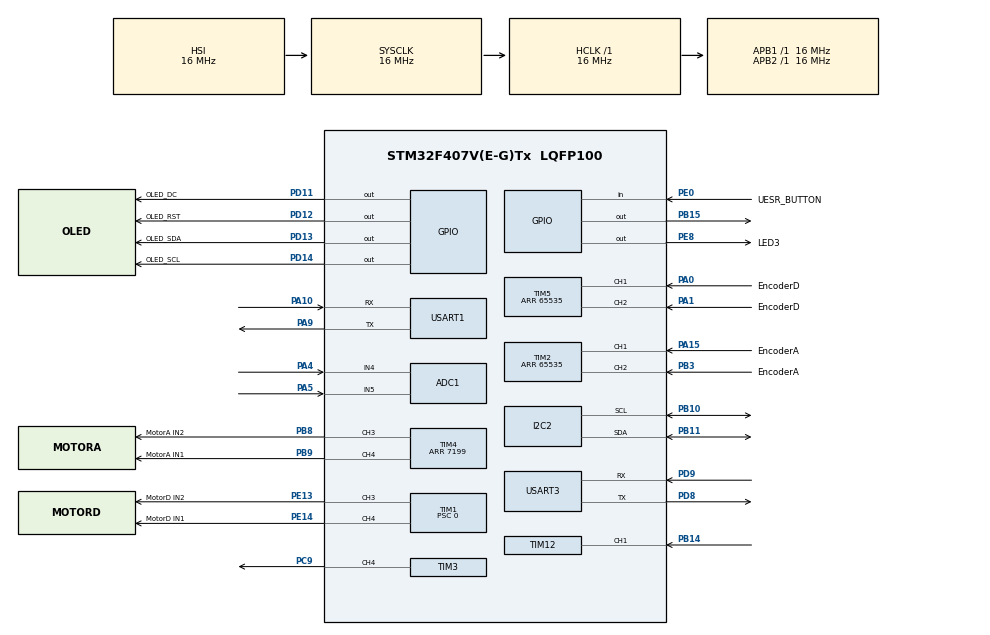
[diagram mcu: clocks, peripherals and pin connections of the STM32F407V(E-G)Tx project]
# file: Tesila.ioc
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ADC1.Channel-0\#ChannelRegularConversion=ADC_CHANNEL_5
ADC1.EOCSelection=ADC_EOC_SINGLE_CONV
ADC1.EnableAnalogWatchDog=true
ADC1.InjNumberOfConversion=0
ADC1.NbrOfConversionFlag=1
ADC1.Rank-0\#ChannelRegularConversion=1
ADC1.SamplingTime-0\#ChannelRegularConversion=ADC_SAMPLETIME_3CYCLES
ADC1.WatchdogChannel=ADC_CHANNEL_5
ADC1.master=1
Dma.Request0=USART3_RX
Dma.USART3_RX.0.Direction=DMA_PERIPH_TO_MEMORY
Dma.USART3_RX.0.FIFOMode=DMA_FIFOMODE_DISABLE
Dma.USART3_RX.0.Instance=DMA1_Stream1
Dma.USART3_RX.0.MemDataAlignment=DMA_MDATAALIGN_BYTE
Dma.USART3_RX.0.MemInc=DMA_MINC_ENABLE
Dma.USART3_RX.0.Mode=DMA_NORMAL
Dma.USART3_RX.0.PeriphDataAlignment=DMA_PDATAALIGN_BYTE
Dma.USART3_RX.0.PeriphInc=DMA_PINC_DISABLE
Dma.USART3_RX.0.Priority=DMA_PRIORITY_LOW
FREERTOS.Tasks01=defaultTask,24,512,StartDefaultTask,Default,NULL,Dynamic,NULL,NULL;motorTask,8,512,StartMotorTask,Default,NULL,Dynamic,NULL,NULL;OLEDTask,8,512,StartOLEDTask,Default,NULL,Dynamic,NULL,NULL;gyroTask,8,128,StartGyroTask,Default,NULL,Dynamic,NULL,NULL;ultrasonicTask,8,128,StartUltrasonicTask,Default,NULL,Dynamic,NULL,NULL;communicateTask,8,128,StartCommunicateTask,Default,NULL,Dynamic,NULL,NULL;encoderRTask,8,128,StartEncoderRTask,Default,NULL,Dynamic,NULL,NULL;encoderLTask,8,128,StartEncoderLTask,Default,NULL,Dynamic,NULL,NULL;IR_Task,16,256,StartIR_Task,Default,NULL,Dynamic,NULL,NULL
FREERTOS.configUSE_NEWLIB_REENTRANT=1
Mcu.Family=STM32F4
Mcu.Name=STM32F407V(E-G)Tx
Mcu.Package=LQFP100
NVIC.DMA1_Stream1_IRQn=true\:5\:0\:false\:false\:true\:true\:false\:true\:true
NVIC.PriorityGroup=NVIC_PRIORITYGROUP_4
NVIC.TIM6_DAC_IRQn=true\:15\:0\:false\:false\:true\:false\:false\:true\:true
NVIC.TIM8_BRK_TIM12_IRQn=true\:5\:0\:false\:false\:true\:true\:true\:true\:true
NVIC.TimeBase=TIM6_DAC_IRQn
NVIC.TimeBaseIP=TIM6
NVIC.USART3_IRQn=true\:5\:0\:false\:false\:true\:true\:true\:true\:true
PA0-WKUP.GPIO_Label=EncoderD
PA0-WKUP.Signal=S_TIM5_CH1
PA1.GPIO_Label=EncoderD
PA1.Signal=S_TIM5_CH2
PA10.Mode=Asynchronous
PA10.Signal=USART1_RX
PA13.Mode=Serial_Wire
PA13.Signal=SYS_JTMS-SWDIO
PA14.Mode=Serial_Wire
PA14.Signal=SYS_JTCK-SWCLK
PA15.GPIO_Label=EncoderA
PA15.Signal=S_TIM2_CH1_ETR
PA4.Signal=ADCx_IN4
PA5.Signal=SharedAnalog_PA5
PA9.Mode=Asynchronous
PA9.Signal=USART1_TX
PB10.Mode=I2C
PB10.Signal=I2C2_SCL
PB11.Mode=I2C
PB11.Signal=I2C2_SDA
PB14.Signal=S_TIM12_CH1
PB15.Signal=GPIO_Output
PB3.GPIO_Label=EncoderA
PB3.Signal=S_TIM2_CH2
PB8.GPIO_Label=MotorA IN2
PB8.Signal=S_TIM4_CH3
PB9.GPIO_Label=MotorA IN1
PB9.Signal=S_TIM4_CH4
PC9.Signal=S_TIM3_CH4
PD11.GPIO_Label=OLED_DC
PD11.Signal=GPIO_Output
PD12.GPIO_Label=OLED_RST
PD12.Signal=GPIO_Output
PD13.GPIO_Label=OLED_SDA
PD13.Signal=GPIO_Output
PD14.GPIO_Label=OLED_SCL
PD14.Signal=GPIO_Output
PD8.Mode=Asynchronous
PD8.Signal=USART3_TX
PD9.Mode=Asynchronous
PD9.Signal=USART3_RX
PE0.GPIO_Label=UESR_BUTTON
PE0.Signal=GPIO_Input
PE13.GPIO_Label=MotorD IN2
PE13.Signal=S_TIM1_CH3
PE14.GPIO_Label=MotorD IN1
PE14.Signal=S_TIM1_CH4
PE8.GPIO_Label=LED3
PE8.Signal=GPIO_Output
ProjectManager.HeapSize=0x200
ProjectManager.StackSize=0x400
ProjectManager.TargetToolchain=STM32CubeIDE
RCC.AHBFreq_Value=16000000
RCC.APB1Freq_Value=16000000
RCC.APB2Freq_Value=16000000
RCC.CortexFreq_Value=16000000
RCC.HSE_VALUE=25000000
RCC.HSI_VALUE=16000000
RCC.LSE_VALUE=32768
RCC.SYSCLKFreq_VALUE=16000000
RCC.VCOOutputFreq_Value=192000000
SH.ADCx_IN4.0=ADC1_IN4,IN4
SH.S_TIM12_CH1.0=TIM12_CH1,Input_Capture1_from_TI1
SH.S_TIM1_CH3.0=TIM1_CH3,PWM Generation3 CH3
SH.S_TIM1_CH4.0=TIM1_CH4,PWM Generation4 CH4
SH.S_TIM2_CH1_ETR.0=TIM2_CH1,Encoder_Interface
SH.S_TIM2_CH2.0=TIM2_CH2,Encoder_Interface
SH.S_TIM3_CH4.0=TIM3_CH4,PWM Generation4 CH4
SH.S_TIM4_CH3.0=TIM4_CH3,PWM Generation3 CH3
SH.S_TIM4_CH4.0=TIM4_CH4,PWM Generation4 CH4
SH.S_TIM5_CH1.0=TIM5_CH1,Encoder_Interface
SH.S_TIM5_CH2.0=TIM5_CH2,Encoder_Interface
SH.SharedAnalog_PA5.0=GPIO_Analog
SH.SharedAnalog_PA5.1=ADC1_IN5,IN5
TIM1.Channel-PWM\ Generation3\ CH3=TIM_CHANNEL_3
TIM1.Channel-PWM\ Generation4\ CH4=TIM_CHANNEL_4
TIM1.OCPolarity_3=TIM_OCPOLARITY_HIGH
TIM1.OCPolarity_4=TIM_OCPOLARITY_HIGH
TIM1.Period=7199
TIM1.Prescaler=0
TIM12.Channel-Input_Capture1_from_TI1=TIM_CHANNEL_1
TIM12.ICPolarity_CH1=TIM_INPUTCHANNELPOLARITY_BOTHEDGE
TIM12.Prescaler=15
TIM2.EncoderMode=TIM_ENCODERMODE_TI12
TIM2.IC1Filter=10
TIM2.IC2Filter=10
TIM2.Period=65535
TIM3.Channel-PWM\ Generation4\ CH4=TIM_CHANNEL_4
TIM3.Period=1999
TIM3.Prescaler=159
TIM4.Channel-PWM\ Generation3\ CH3=TIM_CHANNEL_3
TIM4.Channel-PWM\ Generation4\ CH4=TIM_CHANNEL_4
TIM4.OCPolarity_3=TIM_OCPOLARITY_LOW
TIM4.OCPolarity_4=TIM_OCPOLARITY_LOW
TIM4.Period=7199
TIM5.EncoderMode=TIM_ENCODERMODE_TI12
TIM5.IC1Filter=10
TIM5.Period=65535
USART1.VirtualMode=VM_ASYNC
USART3.VirtualMode=VM_ASYNC
VP_FREERTOS_VS_CMSIS_V2.Mode=CMSIS_V2
VP_SYS_VS_tim6.Mode=TIM6
VP_TIM12_VS_ClockSourceINT.Mode=Internal
VP_TIM3_VS_ClockSourceINT.Mode=Internal
board=custom

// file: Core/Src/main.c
/* USER CODE BEGIN Header */
/**
  ******************************************************************************
  * @file           : main.c
  * @brief          : Main program body
  ******************************************************************************
  * @attention
  *
  * Copyright (c) 2025 STMicroelectronics.
  * All rights reserved.
  *
  * This software is licensed under terms that can be found in the LICENSE file
  * in the root directory of this software component.
  * If no LICENSE file comes with this software, it is provided AS-IS.
  *
  ******************************************************************************
  */
/* USER CODE END Header */
#include "main.h"
#include "cmsis_os.h"

/* USER CODE BEGIN Includes */
// --- Use volatile for variables shared with an ISR ---
volatile uint8_t  capture_state = 0; // 0=idle, 1=rising edge captured
volatile uint32_t capture_val1 = 0;
volatile uint32_t capture_val2 = 0;
volatile uint32_t pulse_width = 0;
static volatile uint8_t is_capture_done = 0; // Flag to signal completion from ISR to task

volatile float IR_Left_cm = 0.0f;
volatile float IR_Right_cm = 0.0f;
volatile float initial_ultrasound_distance = 0.0f; // in main.c

// NEW variable specifically for the Front Ultrasonic distance
volatile float Front_Distance_cm = 0.0f;
#define TRIG_PORT GPIOB
#define TRIG_PIN  GPIO_PIN_15
#include <stdio.h>
#include <stdlib.h>
#include <string.h>
#define _USE_MATH_DEFINES // <-- ADD THIS LINE
#include <math.h>         // <-- ADD THIS LINE
#include "motion.h"
#include <ICM20948_all.h>
#include "app_parser.h"
#include "adc_utils.h"   // add this with the other includes

/* USER CODE END Includes */

ADC_HandleTypeDef hadc1;

I2C_HandleTypeDef hi2c2;

TIM_HandleTypeDef htim1;
TIM_HandleTypeDef htim2;
TIM_HandleTypeDef htim3;
TIM_HandleTypeDef htim4;
TIM_HandleTypeDef htim5;
TIM_HandleTypeDef htim12;

UART_HandleTypeDef huart1;
UART_HandleTypeDef huart3;
DMA_HandleTypeDef hdma_usart3_rx;

/* Definitions for defaultTask */
osThreadId_t defaultTaskHandle;
const osThreadAttr_t defaultTask_attributes = {
  .name = "defaultTask",
  .stack_size = 512 * 4,
  .priority = (osPriority_t) osPriorityNormal,
};
/* Definitions for motorTask */
osThreadId_t motorTaskHandle;
const osThreadAttr_t motorTask_attributes = {
  .name = "motorTask",
  .stack_size = 512 * 4,
  .priority = (osPriority_t) osPriorityNormal,
};
/* Definitions for OLEDTask */
osThreadId_t OLEDTaskHandle;
const osThreadAttr_t OLEDTask_attributes = {
  .name = "OLEDTask",
  .stack_size = 512 * 4,
  .priority = (osPriority_t) osPriorityLow,
};
/* Definitions for gyroTask */
osThreadId_t gyroTaskHandle;
const osThreadAttr_t gyroTask_attributes = {
  .name = "gyroTask",
  .stack_size = 128 * 4,
  .priority = (osPriority_t) osPriorityLow,
};
/* Definitions for ultrasonicTask */
osThreadId_t ultrasonicTaskHandle;
const osThreadAttr_t ultrasonicTask_attributes = {
  .name = "ultrasonicTask",
  .stack_size = 128 * 4,
  .priority = (osPriority_t) osPriorityLow,
};
/* Definitions for communicateTask */
osThreadId_t communicateTaskHandle;
const osThreadAttr_t communicateTask_attributes = {
  .name = "communicateTask",
  .stack_size = 128 * 4,
  .priority = (osPriority_t) osPriorityLow,
};
/* Definitions for encoderRTask */
osThreadId_t encoderRTaskHandle;
const osThreadAttr_t encoderRTask_attributes = {
  .name = "encoderRTask",
  .stack_size = 128 * 4,
  .priority = (osPriority_t) osPriorityLow,
};
/* Definitions for encoderLTask */
osThreadId_t encoderLTaskHandle;
const osThreadAttr_t encoderLTask_attributes = {
  .name = "encoderLTask",
  .stack_size = 128 * 4,
  .priority = (osPriority_t) osPriorityLow,
};
/* Definitions for IR_Task */
osThreadId_t IR_TaskHandle;
const osThreadAttr_t IR_Task_attributes = {
  .name = "IR_Task",
  .stack_size = 256 * 4,
  .priority = (osPriority_t) osPriorityLow,
};
/* USER CODE BEGIN PV */
// Message Queues
osMessageQueueId_t motor_cmd_queue;      // NEW: For sending commands to the motor task
osMessageQueueId_t uart_rx_msg_queue;    // NEW: For receiving raw UART frames in the parser task

// These variables are shared between tasks and the motion module
volatile int32_t encoder_count_A = 0;
volatile int32_t encoder_count_D = 0;

volatile ICM20948 imu_sensor;
volatile float pitch = 0.0f;
volatile float roll = 0.0f;
volatile float yaw = 0.0f;
extern volatile int32_t last_servo_pulse;

// Ultrasonic sensor variables
volatile uint32_t ic_val1 = 0;
volatile uint32_t ic_val2 = 0;
// UART receive buffer
volatile uint8_t uart_dma_rx_buffer[10]; // NEW: DMA buffer for UART
/* USER CODE END PV */

void SystemClock_Config(void);
static void MX_GPIO_Init(void);
static void MX_DMA_Init(void);
static void MX_TIM1_Init(void);
static void MX_TIM2_Init(void);
static void MX_TIM4_Init(void);
static void MX_USART1_UART_Init(void);
static void MX_TIM5_Init(void);
static void MX_I2C2_Init(void);
static void MX_USART3_UART_Init(void);
static void MX_TIM3_Init(void);
static void MX_TIM12_Init(void);
static void MX_ADC1_Init(void);
void StartDefaultTask(void *argument);
void StartMotorTask(void *argument);
void StartOLEDTask(void *argument);
void StartGyroTask(void *argument);
void StartUltrasonicTask(void *argument);
void StartCommunicateTask(void *argument);
void StartEncoderRTask(void *argument);
void StartEncoderLTask(void *argument);
void StartIR_Task(void *argument);

/* USER CODE BEGIN 0 */
void DWT_Delay_Init(void)
	{
	  // Enable the DWT peripheral
	  CoreDebug->DEMCR |= CoreDebug_DEMCR_TRCENA_Msk;

	  // Reset the cycle counter
	  DWT->CYCCNT = 0;

	  // Start the cycle counter
	  DWT->CTRL |= DWT_CTRL_CYCCNTENA_Msk;
	}

/* USER CODE END 0 */

int main(void)
{

  /* USER CODE BEGIN 1 */
	/**
	  * @brief  Enables the DWT Cycle Counter for high-precision delays.
	  * @retval None
	  *
	  *
	  */
	DWT_Delay_Init();
  /* USER CODE END 1 */

  /* MCU Configuration--------------------------------------------------------*/

  /* Reset of all peripherals, Initializes the Flash interface and the Systick. */
  HAL_Init();

  /* Configure the system clock */
  SystemClock_Config();

  /* Initialize all configured peripherals */
  MX_GPIO_Init();
  MX_DMA_Init();
  MX_TIM1_Init();
  MX_TIM2_Init();
  MX_TIM4_Init();
  MX_USART1_UART_Init();
  MX_TIM5_Init();
  MX_I2C2_Init();
  MX_USART3_UART_Init();
  MX_TIM3_Init();
  MX_TIM12_Init();
  MX_ADC1_Init();

  /* Init scheduler */
  osKernelInitialize();

  /* USER CODE BEGIN RTOS_QUEUES */
   // NEW: Create the message queues
   motor_cmd_queue = osMessageQueueNew(10, sizeof(MOTION_PKT_t), NULL);
   uart_rx_msg_queue = osMessageQueueNew(5, sizeof(AppMessage_t), NULL);
  /* USER CODE END RTOS_QUEUES */

  /* Create the thread(s) */
  /* creation of defaultTask */
  defaultTaskHandle = osThreadNew(StartDefaultTask, NULL, &defaultTask_attributes);

  /* creation of motorTask */
  motorTaskHandle = osThreadNew(StartMotorTask, NULL, &motorTask_attributes);

  /* creation of OLEDTask */
  OLEDTaskHandle = osThreadNew(StartOLEDTask, NULL, &OLEDTask_attributes);

  /* creation of gyroTask */
  gyroTaskHandle = osThreadNew(StartGyroTask, NULL, &gyroTask_attributes);

  /* creation of ultrasonicTask */
  ultrasonicTaskHandle = osThreadNew(StartUltrasonicTask, NULL, &ultrasonicTask_attributes);

  /* creation of communicateTask */
  communicateTaskHandle = osThreadNew(StartCommunicateTask, NULL, &communicateTask_attributes);

  /* creation of encoderRTask */
  encoderRTaskHandle = osThreadNew(StartEncoderRTask, NULL, &encoderRTask_attributes);

  /* creation of encoderLTask */
  encoderLTaskHandle = osThreadNew(StartEncoderLTask, NULL, &encoderLTask_attributes);

  /* creation of IR_Task */
  IR_TaskHandle = osThreadNew(StartIR_Task, NULL, &IR_Task_attributes);

  /* Start scheduler */
  osKernelStart();

  /* We should never get here as control is now taken by the scheduler */

  /* Infinite loop */
  while (1)
  {

  }
}

void SystemClock_Config(void)
{
  RCC_OscInitTypeDef RCC_OscInitStruct = {0};
  RCC_ClkInitTypeDef RCC_ClkInitStruct = {0};

  /** Configure the main internal regulator output voltage
  */
  __HAL_RCC_PWR_CLK_ENABLE();
  __HAL_PWR_VOLTAGESCALING_CONFIG(PWR_REGULATOR_VOLTAGE_SCALE1);

  /** Initializes the RCC Oscillators according to the specified parameters
  * in the RCC_OscInitTypeDef structure.
  */
  RCC_OscInitStruct.OscillatorType = RCC_OSCILLATORTYPE_HSI;
  RCC_OscInitStruct.HSIState = RCC_HSI_ON;
  RCC_OscInitStruct.HSICalibrationValue = RCC_HSICALIBRATION_DEFAULT;
  RCC_OscInitStruct.PLL.PLLState = RCC_PLL_NONE;
  if (HAL_RCC_OscConfig(&RCC_OscInitStruct) != HAL_OK)
  {
    Error_Handler();
  }

  /** Initializes the CPU, AHB and APB buses clocks
  */
  RCC_ClkInitStruct.ClockType = RCC_CLOCKTYPE_HCLK|RCC_CLOCKTYPE_SYSCLK
                              |RCC_CLOCKTYPE_PCLK1|RCC_CLOCKTYPE_PCLK2;
  RCC_ClkInitStruct.SYSCLKSource = RCC_SYSCLKSOURCE_HSI;
  RCC_ClkInitStruct.AHBCLKDivider = RCC_SYSCLK_DIV1;
  RCC_ClkInitStruct.APB1CLKDivider = RCC_HCLK_DIV1;
  RCC_ClkInitStruct.APB2CLKDivider = RCC_HCLK_DIV1;

  if (HAL_RCC_ClockConfig(&RCC_ClkInitStruct, FLASH_LATENCY_0) != HAL_OK)
  {
    Error_Handler();
  }
}

static void MX_ADC1_Init(void)
{

  ADC_ChannelConfTypeDef sConfig = {0};

  /** Configure the global features of the ADC (Clock, Resolution, Data Alignment and number of conversion)
  */
  hadc1.Instance = ADC1;
  hadc1.Init.ClockPrescaler        = ADC_CLOCK_SYNC_PCLK_DIV2;
  hadc1.Init.Resolution            = ADC_RESOLUTION_12B;
  hadc1.Init.ScanConvMode          = DISABLE;
  hadc1.Init.ContinuousConvMode    = DISABLE;
  hadc1.Init.DiscontinuousConvMode = DISABLE;
  hadc1.Init.ExternalTrigConvEdge  = ADC_EXTERNALTRIGCONVEDGE_NONE;
  hadc1.Init.ExternalTrigConv      = ADC_SOFTWARE_START;
  hadc1.Init.DataAlign             = ADC_DATAALIGN_RIGHT;
  hadc1.Init.NbrOfConversion       = 1;
  hadc1.Init.DMAContinuousRequests = DISABLE;
  hadc1.Init.EOCSelection          = ADC_EOC_SINGLE_CONV;
  if (HAL_ADC_Init(&hadc1) != HAL_OK)
  {
    Error_Handler();
  }

  /* === Enable internal channels (VREFINT / TempSensor) === */
  /* Do this once after HAL_ADC_Init. This powers the internal buffer so that
     ADC_CHANNEL_VREFINT returns a valid conversion value. */
  __HAL_RCC_ADC1_CLK_ENABLE();          // <<< NEW (harmless if already enabled)
  ADC->CCR |= ADC_CCR_TSVREFE;          // <<< NEW: enable VREFINT (and TempSensor)
  HAL_Delay(1);                         // <<< NEW: tiny settle time (~us is enough, 1ms is safe)

  /** Configure for a regular external channel (your default) */
  sConfig.Channel      = ADC_CHANNEL_5;          // PA5
  sConfig.Rank         = 1;
  sConfig.SamplingTime = ADC_SAMPLETIME_480CYCLES;  // keep long sample time
  if (HAL_ADC_ConfigChannel(&hadc1, &sConfig) != HAL_OK)
  {
    Error_Handler();
  }
}

static void MX_I2C2_Init(void)
{

  hi2c2.Instance = I2C2;
  hi2c2.Init.ClockSpeed = 100000;
  hi2c2.Init.DutyCycle = I2C_DUTYCYCLE_2;
  hi2c2.Init.OwnAddress1 = 0;
  hi2c2.Init.AddressingMode = I2C_ADDRESSINGMODE_7BIT;
  hi2c2.Init.DualAddressMode = I2C_DUALADDRESS_DISABLE;
  hi2c2.Init.OwnAddress2 = 0;
  hi2c2.Init.GeneralCallMode = I2C_GENERALCALL_DISABLE;
  hi2c2.Init.NoStretchMode = I2C_NOSTRETCH_DISABLE;
  if (HAL_I2C_Init(&hi2c2) != HAL_OK)
  {
    Error_Handler();
  }

}

static void MX_TIM1_Init(void)
{

  TIM_MasterConfigTypeDef sMasterConfig = {0};
  TIM_OC_InitTypeDef sConfigOC = {0};
  TIM_BreakDeadTimeConfigTypeDef sBreakDeadTimeConfig = {0};

  htim1.Instance = TIM1;
  htim1.Init.Prescaler = 0;
  htim1.Init.CounterMode = TIM_COUNTERMODE_UP;
  htim1.Init.Period = 7199;
  htim1.Init.ClockDivision = TIM_CLOCKDIVISION_DIV1;
  htim1.Init.RepetitionCounter = 0;
  htim1.Init.AutoReloadPreload = TIM_AUTORELOAD_PRELOAD_DISABLE;
  if (HAL_TIM_PWM_Init(&htim1) != HAL_OK)
  {
    Error_Handler();
  }
  sMasterConfig.MasterOutputTrigger = TIM_TRGO_RESET;
  sMasterConfig.MasterSlaveMode = TIM_MASTERSLAVEMODE_DISABLE;
  if (HAL_TIMEx_MasterConfigSynchronization(&htim1, &sMasterConfig) != HAL_OK)
  {
    Error_Handler();
  }
  sConfigOC.OCMode = TIM_OCMODE_PWM1;
  sConfigOC.Pulse = 0;
  sConfigOC.OCPolarity = TIM_OCPOLARITY_LOW;
  sConfigOC.OCNPolarity = TIM_OCNPOLARITY_HIGH;
  sConfigOC.OCFastMode = TIM_OCFAST_DISABLE;
  sConfigOC.OCIdleState = TIM_OCIDLESTATE_RESET;
  sConfigOC.OCNIdleState = TIM_OCNIDLESTATE_RESET;
  if (HAL_TIM_PWM_ConfigChannel(&htim1, &sConfigOC, TIM_CHANNEL_3) != HAL_OK)
  {
    Error_Handler();
  }
  if (HAL_TIM_PWM_ConfigChannel(&htim1, &sConfigOC, TIM_CHANNEL_4) != HAL_OK)
  {
    Error_Handler();
  }
  sBreakDeadTimeConfig.OffStateRunMode = TIM_OSSR_DISABLE;
  sBreakDeadTimeConfig.OffStateIDLEMode = TIM_OSSI_DISABLE;
  sBreakDeadTimeConfig.LockLevel = TIM_LOCKLEVEL_OFF;
  sBreakDeadTimeConfig.DeadTime = 0;
  sBreakDeadTimeConfig.BreakState = TIM_BREAK_DISABLE;
  sBreakDeadTimeConfig.BreakPolarity = TIM_BREAKPOLARITY_HIGH;
  sBreakDeadTimeConfig.AutomaticOutput = TIM_AUTOMATICOUTPUT_DISABLE;
  if (HAL_TIMEx_ConfigBreakDeadTime(&htim1, &sBreakDeadTimeConfig) != HAL_OK)
  {
    Error_Handler();
  }
  HAL_TIM_MspPostInit(&htim1);

}

static void MX_TIM2_Init(void)
{

  TIM_Encoder_InitTypeDef sConfig = {0};
  TIM_MasterConfigTypeDef sMasterConfig = {0};

  htim2.Instance = TIM2;
  htim2.Init.Prescaler = 0;
  htim2.Init.CounterMode = TIM_COUNTERMODE_UP;
  htim2.Init.Period = 65535;
  htim2.Init.ClockDivision = TIM_CLOCKDIVISION_DIV1;
  htim2.Init.AutoReloadPreload = TIM_AUTORELOAD_PRELOAD_DISABLE;
  sConfig.EncoderMode = TIM_ENCODERMODE_TI12;
  sConfig.IC1Polarity = TIM_ICPOLARITY_RISING;
  sConfig.IC1Selection = TIM_ICSELECTION_DIRECTTI;
  sConfig.IC1Prescaler = TIM_ICPSC_DIV1;
  sConfig.IC1Filter = 10;
  sConfig.IC2Polarity = TIM_ICPOLARITY_RISING;
  sConfig.IC2Selection = TIM_ICSELECTION_DIRECTTI;
  sConfig.IC2Prescaler = TIM_ICPSC_DIV1;
  sConfig.IC2Filter = 10;
  if (HAL_TIM_Encoder_Init(&htim2, &sConfig) != HAL_OK)
  {
    Error_Handler();
  }
  sMasterConfig.MasterOutputTrigger = TIM_TRGO_RESET;
  sMasterConfig.MasterSlaveMode = TIM_MASTERSLAVEMODE_DISABLE;
  if (HAL_TIMEx_MasterConfigSynchronization(&htim2, &sMasterConfig) != HAL_OK)
  {
    Error_Handler();
  }

}

static void MX_TIM3_Init(void)
{

  TIM_ClockConfigTypeDef sClockSourceConfig = {0};
  TIM_MasterConfigTypeDef sMasterConfig = {0};
  TIM_OC_InitTypeDef sConfigOC = {0};

  htim3.Instance = TIM3;
  htim3.Init.Prescaler = 159;
  htim3.Init.CounterMode = TIM_COUNTERMODE_UP;
  htim3.Init.Period = 1999;
  htim3.Init.ClockDivision = TIM_CLOCKDIVISION_DIV1;
  htim3.Init.AutoReloadPreload = TIM_AUTORELOAD_PRELOAD_DISABLE;
  if (HAL_TIM_Base_Init(&htim3) != HAL_OK)
  {
    Error_Handler();
  }
  sClockSourceConfig.ClockSource = TIM_CLOCKSOURCE_INTERNAL;
  if (HAL_TIM_ConfigClockSource(&htim3, &sClockSourceConfig) != HAL_OK)
  {
    Error_Handler();
  }
  if (HAL_TIM_PWM_Init(&htim3) != HAL_OK)
  {
    Error_Handler();
  }
  sMasterConfig.MasterOutputTrigger = TIM_TRGO_RESET;
  sMasterConfig.MasterSlaveMode = TIM_MASTERSLAVEMODE_DISABLE;
  if (HAL_TIMEx_MasterConfigSynchronization(&htim3, &sMasterConfig) != HAL_OK)
  {
    Error_Handler();
  }
  sConfigOC.OCMode = TIM_OCMODE_PWM1;
  sConfigOC.Pulse = 0;
  sConfigOC.OCPolarity = TIM_OCPOLARITY_HIGH;
  sConfigOC.OCFastMode = TIM_OCFAST_DISABLE;
  if (HAL_TIM_PWM_ConfigChannel(&htim3, &sConfigOC, TIM_CHANNEL_4) != HAL_OK)
  {
    Error_Handler();
  }
  HAL_TIM_MspPostInit(&htim3);

}

static void MX_TIM4_Init(void)
{

  TIM_MasterConfigTypeDef sMasterConfig = {0};
  TIM_OC_InitTypeDef sConfigOC = {0};

  htim4.Instance = TIM4;
  htim4.Init.Prescaler = 0;
  htim4.Init.CounterMode = TIM_COUNTERMODE_UP;
  htim4.Init.Period = 7199;
  htim4.Init.ClockDivision = TIM_CLOCKDIVISION_DIV1;
  htim4.Init.AutoReloadPreload = TIM_AUTORELOAD_PRELOAD_DISABLE;
  if (HAL_TIM_PWM_Init(&htim4) != HAL_OK)
  {
    Error_Handler();
  }
  sMasterConfig.MasterOutputTrigger = TIM_TRGO_RESET;
  sMasterConfig.MasterSlaveMode = TIM_MASTERSLAVEMODE_DISABLE;
  if (HAL_TIMEx_MasterConfigSynchronization(&htim4, &sMasterConfig) != HAL_OK)
  {
    Error_Handler();
  }
  sConfigOC.OCMode = TIM_OCMODE_PWM1;
  sConfigOC.Pulse = 0;
  sConfigOC.OCPolarity = TIM_OCPOLARITY_LOW;
  sConfigOC.OCFastMode = TIM_OCFAST_DISABLE;
  if (HAL_TIM_PWM_ConfigChannel(&htim4, &sConfigOC, TIM_CHANNEL_3) != HAL_OK)
  {
    Error_Handler();
  }
  if (HAL_TIM_PWM_ConfigChannel(&htim4, &sConfigOC, TIM_CHANNEL_4) != HAL_OK)
  {
    Error_Handler();
  }
  HAL_TIM_MspPostInit(&htim4);

}

static void MX_TIM5_Init(void)
{

  TIM_Encoder_InitTypeDef sConfig = {0};
  TIM_MasterConfigTypeDef sMasterConfig = {0};

  htim5.Instance = TIM5;
  htim5.Init.Prescaler = 0;
  htim5.Init.CounterMode = TIM_COUNTERMODE_UP;
  htim5.Init.Period = 65535;
  htim5.Init.ClockDivision = TIM_CLOCKDIVISION_DIV1;
  htim5.Init.AutoReloadPreload = TIM_AUTORELOAD_PRELOAD_DISABLE;
  sConfig.EncoderMode = TIM_ENCODERMODE_TI12;
  sConfig.IC1Polarity = TIM_ICPOLARITY_RISING;
  sConfig.IC1Selection = TIM_ICSELECTION_DIRECTTI;
  sConfig.IC1Prescaler = TIM_ICPSC_DIV1;
  sConfig.IC1Filter = 10;
  sConfig.IC2Polarity = TIM_ICPOLARITY_RISING;
  sConfig.IC2Selection = TIM_ICSELECTION_DIRECTTI;
  sConfig.IC2Prescaler = TIM_ICPSC_DIV1;
  sConfig.IC2Filter = 0;
  if (HAL_TIM_Encoder_Init(&htim5, &sConfig) != HAL_OK)
  {
    Error_Handler();
  }
  sMasterConfig.MasterOutputTrigger = TIM_TRGO_RESET;
  sMasterConfig.MasterSlaveMode = TIM_MASTERSLAVEMODE_DISABLE;
  if (HAL_TIMEx_MasterConfigSynchronization(&htim5, &sMasterConfig) != HAL_OK)
  {
    Error_Handler();
  }

}

static void MX_TIM12_Init(void)
{

  TIM_ClockConfigTypeDef sClockSourceConfig = {0};
  TIM_IC_InitTypeDef sConfigIC = {0};

  htim12.Instance = TIM12;
  htim12.Init.Prescaler = 15;
  htim12.Init.CounterMode = TIM_COUNTERMODE_UP;
  htim12.Init.Period = 65535;
  htim12.Init.ClockDivision = TIM_CLOCKDIVISION_DIV1;
  htim12.Init.AutoReloadPreload = TIM_AUTORELOAD_PRELOAD_DISABLE;
  if (HAL_TIM_Base_Init(&htim12) != HAL_OK)
  {
    Error_Handler();
  }
  sClockSourceConfig.ClockSource = TIM_CLOCKSOURCE_INTERNAL;
  if (HAL_TIM_ConfigClockSource(&htim12, &sClockSourceConfig) != HAL_OK)
  {
    Error_Handler();
  }
  if (HAL_TIM_IC_Init(&htim12) != HAL_OK)
  {
    Error_Handler();
  }
  sConfigIC.ICPolarity = TIM_INPUTCHANNELPOLARITY_RISING;
  sConfigIC.ICSelection = TIM_ICSELECTION_DIRECTTI;
  sConfigIC.ICPrescaler = TIM_ICPSC_DIV1;
  sConfigIC.ICFilter = 8;
  if (HAL_TIM_IC_ConfigChannel(&htim12, &sConfigIC, TIM_CHANNEL_1) != HAL_OK)
  {
    Error_Handler();
  }

}

static void MX_USART1_UART_Init(void)
{

  huart1.Instance = USART1;
  huart1.Init.BaudRate = 115200;
  huart1.Init.WordLength = UART_WORDLENGTH_8B;
  huart1.Init.StopBits = UART_STOPBITS_1;
  huart1.Init.Parity = UART_PARITY_NONE;
  huart1.Init.Mode = UART_MODE_TX_RX;
  huart1.Init.HwFlowCtl = UART_HWCONTROL_NONE;
  huart1.Init.OverSampling = UART_OVERSAMPLING_16;
  if (HAL_UART_Init(&huart1) != HAL_OK)
  {
    Error_Handler();
  }

}

static void MX_USART3_UART_Init(void)
{

  huart3.Instance = USART3;
  huart3.Init.BaudRate = 115200;
  huart3.Init.WordLength = UART_WORDLENGTH_8B;
  huart3.Init.StopBits = UART_STOPBITS_1;
  huart3.Init.Parity = UART_PARITY_NONE;
  huart3.Init.Mode = UART_MODE_TX_RX;
  huart3.Init.HwFlowCtl = UART_HWCONTROL_NONE;
  huart3.Init.OverSampling = UART_OVERSAMPLING_16;
  if (HAL_UART_Init(&huart3) != HAL_OK)
  {
    Error_Handler();
  }
  /* USER CODE BEGIN USART3_Init 2 */
  // NEW: Start listening for a 10-byte packet using DMA
  HAL_UART_Receive_DMA(&huart3, (uint8_t*)uart_dma_rx_buffer, 10);
  /* USER CODE END USART3_Init 2 */

}

static void MX_DMA_Init(void)
{

  /* DMA controller clock enable */
  __HAL_RCC_DMA1_CLK_ENABLE();

  /* DMA interrupt init */
  /* DMA1_Stream1_IRQn interrupt configuration */
  HAL_NVIC_SetPriority(DMA1_Stream1_IRQn, 5, 0);
  HAL_NVIC_EnableIRQ(DMA1_Stream1_IRQn);

}

static void MX_GPIO_Init(void)
{
  GPIO_InitTypeDef GPIO_InitStruct = {0};

  /* GPIO Ports Clock Enable */
  __HAL_RCC_GPIOA_CLK_ENABLE();
  __HAL_RCC_GPIOE_CLK_ENABLE();
  __HAL_RCC_GPIOB_CLK_ENABLE();
  __HAL_RCC_GPIOD_CLK_ENABLE();
  __HAL_RCC_GPIOC_CLK_ENABLE();

  /*Configure GPIO pin Output Level */
  HAL_GPIO_WritePin(LED3_GPIO_Port, LED3_Pin, GPIO_PIN_RESET);

  /*Configure GPIO pin Output Level */
  HAL_GPIO_WritePin(GPIOB, GPIO_PIN_15, GPIO_PIN_RESET);

  /*Configure GPIO pin Output Level */
  HAL_GPIO_WritePin(GPIOD, OLED_DC_Pin|OLED_RST_Pin|OLED_SDA_Pin|OLED_SCL_Pin, GPIO_PIN_RESET);

  /*Configure GPIO pin : LED3_Pin */
  GPIO_InitStruct.Pin = LED3_Pin;
  GPIO_InitStruct.Mode = GPIO_MODE_OUTPUT_PP;
  GPIO_InitStruct.Pull = GPIO_NOPULL;
  GPIO_InitStruct.Speed = GPIO_SPEED_FREQ_LOW;
  HAL_GPIO_Init(LED3_GPIO_Port, &GPIO_InitStruct);

  /*Configure GPIO pin : PB15 */
  GPIO_InitStruct.Pin = GPIO_PIN_15;
  GPIO_InitStruct.Mode = GPIO_MODE_OUTPUT_PP;
  GPIO_InitStruct.Pull = GPIO_NOPULL;
  GPIO_InitStruct.Speed = GPIO_SPEED_FREQ_LOW;
  HAL_GPIO_Init(GPIOB, &GPIO_InitStruct);

  /*Configure GPIO pins : OLED_DC_Pin OLED_RST_Pin OLED_SDA_Pin OLED_SCL_Pin */
  GPIO_InitStruct.Pin = OLED_DC_Pin|OLED_RST_Pin|OLED_SDA_Pin|OLED_SCL_Pin;
  GPIO_InitStruct.Mode = GPIO_MODE_OUTPUT_PP;
  GPIO_InitStruct.Pull = GPIO_NOPULL;
  GPIO_InitStruct.Speed = GPIO_SPEED_FREQ_LOW;
  HAL_GPIO_Init(GPIOD, &GPIO_InitStruct);

  /*Configure GPIO pin : UESR_BUTTON_Pin */
  GPIO_InitStruct.Pin = UESR_BUTTON_Pin;
  GPIO_InitStruct.Mode = GPIO_MODE_INPUT;
  GPIO_InitStruct.Pull = GPIO_NOPULL;
  HAL_GPIO_Init(UESR_BUTTON_GPIO_Port, &GPIO_InitStruct);

}

/* USER CODE BEGIN 4 */
/**
* @brief TIM_IC MSP Initialization
*/
void HAL_TIM_IC_MspInit(TIM_HandleTypeDef* htim_ic)
{
  GPIO_InitTypeDef GPIO_InitStruct = {0};
  if(htim_ic->Instance==TIM12)
  {
    __HAL_RCC_TIM12_CLK_ENABLE();
    __HAL_RCC_GPIOB_CLK_ENABLE();
    /**TIM12 GPIO Configuration: PB14 -> TIM12_CH1 */
    GPIO_InitStruct.Pin = GPIO_PIN_14;
    GPIO_InitStruct.Mode = GPIO_MODE_AF_PP;
    GPIO_InitStruct.Pull = GPIO_NOPULL;
    GPIO_InitStruct.Speed = GPIO_SPEED_FREQ_LOW;
    GPIO_InitStruct.Alternate = GPIO_AF9_TIM12;
    HAL_GPIO_Init(GPIOB, &GPIO_InitStruct);

    HAL_NVIC_SetPriority(TIM8_BRK_TIM12_IRQn, 5, 0);
    HAL_NVIC_EnableIRQ(TIM8_BRK_TIM12_IRQn);
  }
}

/**
  * @brief  Input Capture callback in non-blocking mode
  */
// --- Make sure these are declared globally as volatile ---
// volatile uint8_t  is_capture_done = 0;
// volatile uint32_t ic_val1 = 0;
// volatile uint32_t ic_val2 = 0;
// volatile uint32_t pulse_width = 0;

void HAL_TIM_IC_CaptureCallback(TIM_HandleTypeDef *htim)
{
    if (htim->Instance == TIM12 && htim->Channel == HAL_TIM_ACTIVE_CHANNEL_1)
    {
        if (capture_state == 0) // rising edge just captured
        {
            capture_val1 = HAL_TIM_ReadCapturedValue(htim, TIM_CHANNEL_1);
            capture_state = 1;

            // --- SAFE SWITCH to FALLING ---
            __HAL_TIM_DISABLE_IT(htim, TIM_IT_CC1);
            __HAL_TIM_SET_CAPTUREPOLARITY(htim, TIM_CHANNEL_1, TIM_INPUTCHANNELPOLARITY_FALLING);
            __HAL_TIM_CLEAR_FLAG(htim, TIM_FLAG_CC1);
            __HAL_TIM_ENABLE_IT(htim, TIM_IT_CC1);
        }
        else // capture_state == 1 → falling edge
        {
            capture_val2 = HAL_TIM_ReadCapturedValue(htim, TIM_CHANNEL_1);

            // --- Compute pulse width (handle wrap correctly) ---
            if (capture_val2 >= capture_val1)
                pulse_width = capture_val2 - capture_val1;
            else
                pulse_width = (0xFFFFu - capture_val1) + capture_val2 + 1u;

            is_capture_done = 1;
            capture_state = 0;

            // --- Restore to RISING for next cycle (safe) ---
            __HAL_TIM_DISABLE_IT(htim, TIM_IT_CC1);
            __HAL_TIM_SET_CAPTUREPOLARITY(htim, TIM_CHANNEL_1, TIM_INPUTCHANNELPOLARITY_RISING);
            __HAL_TIM_CLEAR_FLAG(htim, TIM_FLAG_CC1);
            __HAL_TIM_ENABLE_IT(htim, TIM_IT_CC1);

            HAL_TIM_IC_Stop_IT(&htim12, TIM_CHANNEL_1);
        }
    }
}

void DWT_Delay_us(volatile uint32_t microseconds)
{
  uint32_t clk_cycle_start = DWT->CYCCNT;
  /* Go to number of cycles for system */
  microseconds *= (HAL_RCC_GetHCLKFreq() / 1000000);
  /* Wait until the cycles are counted */
  while ((DWT->CYCCNT - clk_cycle_start) < microseconds);
}

void HAL_UART_RxCpltCallback(UART_HandleTypeDef *huart)
{
  if (huart->Instance == USART3) {
      AppMessage_t msg;
      memcpy(msg.buffer, (void*)uart_dma_rx_buffer, 10);
      msg.length = 10;

      // Send the received data to the communication task's queue from within the ISR
      osMessageQueuePut(uart_rx_msg_queue, &msg, 0, 0);

      // Re-enable the DMA reception for the next packet
      HAL_UART_Receive_DMA(&huart3, (uint8_t*)uart_dma_rx_buffer, 10);
  }
}

void vApplicationStackOverflowHook( TaskHandle_t xTask, char *pcTaskName )
{
   /* This function will be called if a task overflows its stack. */
   // You can put a breakpoint here to see which task caused the overflow.
   while(1)
   {
       // Flash the LED very, very fast to signal a stack overflow.
       HAL_GPIO_WritePin(LED3_GPIO_Port, LED3_Pin, GPIO_PIN_SET); // <-- REPLACE LED_ON()
       for(int i=0; i<100000; i++);
       HAL_GPIO_WritePin(LED3_GPIO_Port, LED3_Pin, GPIO_PIN_RESET); // <-- REPLACE LED_OFF()
       for(int i=0; i<100000; i++);
   }
}
/* USER CODE END 4 */

void StartDefaultTask(void *argument)
{
  for(;;)
  {
    osDelay(1);
  }
}

uint8_t get_button_clicks(void)
{
    const int debounce_delay_ms = 50;
    const int double_click_window_ms = 300;
    int click_count = 0;

    // Wait for the initial button press
    while (HAL_GPIO_ReadPin(UESR_BUTTON_GPIO_Port, UESR_BUTTON_Pin) != GPIO_PIN_RESET)
    {
        osDelay(10); // Wait for a press
    }

    osDelay(debounce_delay_ms); // Debounce the press

    // Wait for the button to be released
    while (HAL_GPIO_ReadPin(UESR_BUTTON_GPIO_Port, UESR_BUTTON_Pin) == GPIO_PIN_RESET)
    {
        osDelay(10);
    }

    click_count = 1;
    osDelay(debounce_delay_ms); // Debounce the release

    // Start a window of time to check for a second click
    uint32_t start_time = osKernelGetTickCount();
    while ((osKernelGetTickCount() - start_time) < double_click_window_ms)
    {
        if (HAL_GPIO_ReadPin(UESR_BUTTON_GPIO_Port, UESR_BUTTON_Pin) == GPIO_PIN_RESET)
        {
            click_count = 2; // Second click detected
            break;
        }
        osDelay(10);
    }

    return click_count;
}

void StartMotorTask(void *argument)
{
  /* USER CODE BEGIN StartMotorTask */
  MOTION_PKT_t received_pkt;
  osStatus_t status;

  Motion_Init();
  osDelay(500);

  for (;;)
  {
    // Wait for a command to arrive in the queue from the parser
    status = osMessageQueueGet(motor_cmd_queue, &received_pkt, NULL, osWaitForever);

    if (status == osOK)
    {
      switch (received_pkt.cmd)
      {
        case MOVE_FWD:
          initial_ultrasound_distance = Front_Distance_cm;
          Motion_Sonny_Move_To_O1();
          break;

        case MOVE_BWD:
        	if((float)received_pkt.arg == 0.0f){
				Motion_Sonny_Dodge_O2_Left_And_Home(initial_ultrasound_distance);
        	}
        	if((float)received_pkt.arg == 1.0f){
        		Motion_Sonny_Dodge_O2_Right_And_Home(initial_ultrasound_distance);
        	}
         break;

        case MOVE_LEFT_FWD:
          if (!received_pkt.linear)
          { // In-place pivot turn
            Motion_Sonny_Dodge_O1_Left();
          }
          else
          { // Forward arc turn
        	Motion_Sonny_Dodge_O1_Left();
          }
          break;

        case MOVE_RIGHT_FWD:
          if (!received_pkt.linear)
          { // In-place pivot turn
        	 Motion_Sonny_Dodge_O1_Right();
          }
          else
          { // Forward arc turn
        	 Motion_Sonny_Dodge_O1_Right();
          }
          break;

        case MOVE_LEFT_BWD:
          if (!received_pkt.linear)
          { // Backward pivot is same as forward
            Motion_Turn_Angle(-(float)received_pkt.arg);
          }
          else
          { // Backward arc turn
            int steer_deg = 50;
            int32_t pwm_bw = received_pkt.is_crawl ? 1200 : 2500;
            Motion_Turn_Angle_Arc_Backward(-(float)received_pkt.arg, steer_deg, pwm_bw);
          }
          break;

        case MOVE_RIGHT_BWD:
          if (!received_pkt.linear)
          { // Backward pivot is same as forward
            Motion_Turn_Angle(+(float)received_pkt.arg);
          }
          else
          { // Backward arc turn
            int steer_deg = 50;
            int32_t pwm_bw = received_pkt.is_crawl ? 1200 : 2500;
            Motion_Turn_Angle_Arc_Backward(+(float)received_pkt.arg, steer_deg, pwm_bw);
          }
          break;

        case MOVE_HALT:
          Motion_Stop();
          break;

        default:
          Motion_Stop();
          break;
      }

      // Run the motion controller until it reports done
      if (received_pkt.cmd != MOVE_HALT)
      {
        while (Motion_Is_Busy())
        {
          Motion_Process();
          osDelay(20); // main control loop cadence
        }
        // Short dwell after a move/turn finishes
        osDelay(150);

      }
    }
  }
  /* USER CODE END StartMotorTask */
}
void StartOLEDTask(void *argument)
{
  /* USER CODE BEGIN StartOLEDTask */
  extern void OLED_Init(void);
  extern void OLED_Clear(void);
  extern void OLED_ShowString(uint8_t x, uint8_t y, const uint8_t *p);
  extern void OLED_Refresh_Gram(void);
  extern volatile float IR_Left_cm;  // <-- Add extern for new variables
  extern volatile float IR_Right_cm; // <-- Add extern for new variable
  extern volatile float Front_Distance_cm;

  OLED_Init(); // Initialize OLED

  // In StartOLEDTask
  for(;;)
  {
      char buffer[40]; // Give it a little more space just in case

      // Display Yaw Angle

      // Display Gyro Z-axis raw data
      snprintf(buffer, sizeof(buffer), "Gyro Z: %.2f", IMU_GetGyroZLatest());
      OLED_ShowString(0, 0, (uint8_t*)buffer);

      snprintf(buffer, sizeof(buffer), "FDist: %.1f cm", Front_Distance_cm);
            OLED_ShowString(0, 12, (uint8_t*)buffer);

       snprintf(buffer, sizeof(buffer), "L:%.1f R:%.1f", IR_Left_cm, IR_Right_cm);
            OLED_ShowString(0, 24, (uint8_t*)buffer); // Display on the last line

      OLED_Refresh_Gram();
      osDelay(200);
  }
  /* USER CODE END StartOLEDTask */
}

void StartGyroTask(void *argument)
{
  /* USER CODE BEGIN StartGyroTask */

  // ---- 1) Choose device params ----
  // I2C address select: 0 -> 0x68, 1 -> 0x69
  const uint8_t addrSel   = 0;                       // use 0x68
  const uint8_t gyroFS    = GYRO_FULL_SCALE_500DPS;  // good resolution / low noise
  const uint8_t accelFS   = ACCEL_FULL_SCALE_2G;     // (used by init only)

  // ---- 2) Init IMU + AK09916 and calibrate gyro Z ----
  ICM20948_init(&hi2c2, addrSel, gyroFS, accelFS);
  HAL_Delay(300);
  IMU_CalibrateGyroZ(&hi2c2, addrSel, gyroFS);  // ~1s quick bias, robot still

  // ---- 3) Run at fixed cadence using FreeRTOS tick ----
  TickType_t lastWake = xTaskGetTickCount();

  // Optional: zero outputs
  yaw = 0.0f; pitch = 0.0f; roll = 0.0f;

  for (;;)
  {
    // 3a) Update fused yaw (gyro-only with optional mag assist inside IMU_Update)
    IMU_Update(&hi2c2, addrSel, gyroFS);

    // 3b) Publish yaw for the rest of the system
    yaw = IMU_GetYawLatest() ;

    // If your robot expects CW to be +yaw and you observe the opposite,
    // uncomment the next line once (don’t flip elsewhere):
    // yaw = -yaw;

    // We’re not estimating pitch/roll in this lightweight path:
    pitch = 0.0f;
    roll  = 0.0f;

    // 3c) Sleep exactly IMU_UPDATE_PERIOD_MS (from your header)
    vTaskDelayUntil(&lastWake, pdMS_TO_TICKS(IMU_UPDATE_PERIOD_MS));
  }

  /* USER CODE END StartGyroTask */
}

void StartUltrasonicTask(void *argument)
{
  /* USER CODE BEGIN StartUltrasonicTask */
  // Initialize the DWT for microsecond delays. Do this once.
  DWT_Delay_Init();

  /* Infinite loop */
  for(;;)
  {
    // --- 1. Prepare for a new measurement ---
    is_capture_done = 0; // Reset the completion flag

    // --- 2. Send the 10us Trigger Pulse ---
    HAL_GPIO_WritePin(TRIG_PORT, TRIG_PIN, GPIO_PIN_SET);
    DWT_Delay_us(10);
    HAL_GPIO_WritePin(TRIG_PORT, TRIG_PIN, GPIO_PIN_RESET);

    // --- 3. Start listening for the echo pulse ---
    // Enable the timer and its interrupt. The callback will handle the rest.
    HAL_TIM_IC_Start_IT(&htim12, TIM_CHANNEL_1);

    // --- 4. Wait for the measurement to complete (with a timeout) ---
    // Give the sensor up to 40ms to get a reading.
    osDelay(40);

    // --- 5. Calculate Distance if measurement was successful ---
    if (is_capture_done)
    {
      /*
       * Timer Clock Tick = 1 / (APB1_Timer_Clock / (Prescaler + 1))
       * Assuming APB1 Timer Clock = 16 MHz and Prescaler = 15:
       * Tick Frequency = 16,000,000 / (15 + 1) = 1,000,000 Hz
       * So, 1 tick = 1 microsecond (us).
       * Therefore, the value in 'pulse_width' is the time of flight in microseconds.
       * PLEASE VERIFY YOUR APB1 TIMER CLOCK FREQUENCY IN CUBEMX.
      */

      // Distance (cm) = (Time_of_flight_in_us / 58.3)
      // The constant 58.3 is derived from (2 / speed_of_sound_in_cm_per_us)
      Front_Distance_cm = (float)pulse_width / 58.3f;
    }
    else
    {
      // The capture did not complete within the 40ms timeout.
      // This means the object is out of range or there was no echo.
      // You can set a specific value to indicate this error state.
      Front_Distance_cm = -1.0f; // Or a large value like 999.0f
    }

    // --- 6. Delay before the next measurement cycle ---
    // Wait a bit to prevent echo interference from the previous ping.
    osDelay(60);
  }
  /* USER CODE END StartUltrasonicTask */
}

void StartCommunicateTask(void *argument)
{
  /* USER CODE BEGIN StartCommunicateTask */
  // NEW: Initialize the parser with the motor command queue
  Parser_Init(motor_cmd_queue);

  /* Infinite loop */
  for(;;)
  {
    // The new Parser_Process function will now handle everything.
    // It internally waits on the uart_rx_msg_queue.
    Parser_Process();
  }
  /* USER CODE END StartCommunicateTask */
}

void StartEncoderRTask(void *argument)
{
  /* USER CODE BEGIN StartEncoderRTask */
  uint16_t last_counter = 0;
  HAL_TIM_Encoder_Start(&htim5, TIM_CHANNEL_ALL); // TIM5 for Encoder D (Right)
  /* Infinite loop */
  for(;;)
  {
    uint16_t current_counter = __HAL_TIM_GET_COUNTER(&htim5);
    // This handles timer overflow correctly
    int16_t diff = current_counter - last_counter;
    encoder_count_D += diff;
    last_counter = current_counter;
    osDelay(10); // Update 100 times per second
  }
  /* USER CODE END StartEncoderRTask */
}

void StartEncoderLTask(void *argument)
{
  /* USER CODE BEGIN StartEncoderLTask */
  uint16_t last_counter = 0;
  HAL_TIM_Encoder_Start(&htim2, TIM_CHANNEL_ALL); // TIM2 for Encoder A (Left)
  /* Infinite loop */
  for(;;)
  {
    uint16_t current_counter = __HAL_TIM_GET_COUNTER(&htim2);
    int16_t diff = current_counter - last_counter;
    encoder_count_A += diff;
    last_counter = current_counter;
    osDelay(10); // Update 100 times per second
  }
  /* USER CODE END StartEncoderLTask */
}

void StartIR_Task(void *argument)
{
  /* USER CODE BEGIN StartIR_Task */

  for(;;)
  {
    /* Read VDDA once per cycle (or every N cycles if you prefer) */
    float vdda_now = IR_ReadVDDA_Vrefint();

    // --- LEFT (PA5 / ADC1_IN5) ---
    uint32_t sum_left = 0;
    for (int i = 0; i < 16; i++) {
      sum_left += ADC1_Read_Channel(ADC_CHANNEL_5);
      osDelay(1);
    }
    uint16_t avg_left = sum_left / 16;
    float volts_left  = IR_RawToVolts(avg_left, vdda_now);
    IR_Left_cm        = IR_VoltsToCm(volts_left);

    // --- RIGHT (PA4 / ADC1_IN4) ---
    uint32_t sum_right = 0;
    for (int i = 0; i < 16; i++) {
      sum_right += ADC1_Read_Channel(ADC_CHANNEL_4);
      osDelay(1);
    }
    uint16_t avg_right = sum_right / 16;
    float volts_right  = IR_RawToVolts(avg_right, vdda_now);
    IR_Right_cm        = IR_VoltsToCm(volts_right);

    osDelay(20);
  }
  /* USER CODE END StartIR_Task */
}

void HAL_TIM_PeriodElapsedCallback(TIM_HandleTypeDef *htim)
{
  if (htim->Instance == TIM6)
  {
    HAL_IncTick();
  }
}

void Error_Handler(void)
{
  __disable_irq();
  while (1)
  {
  }
}
